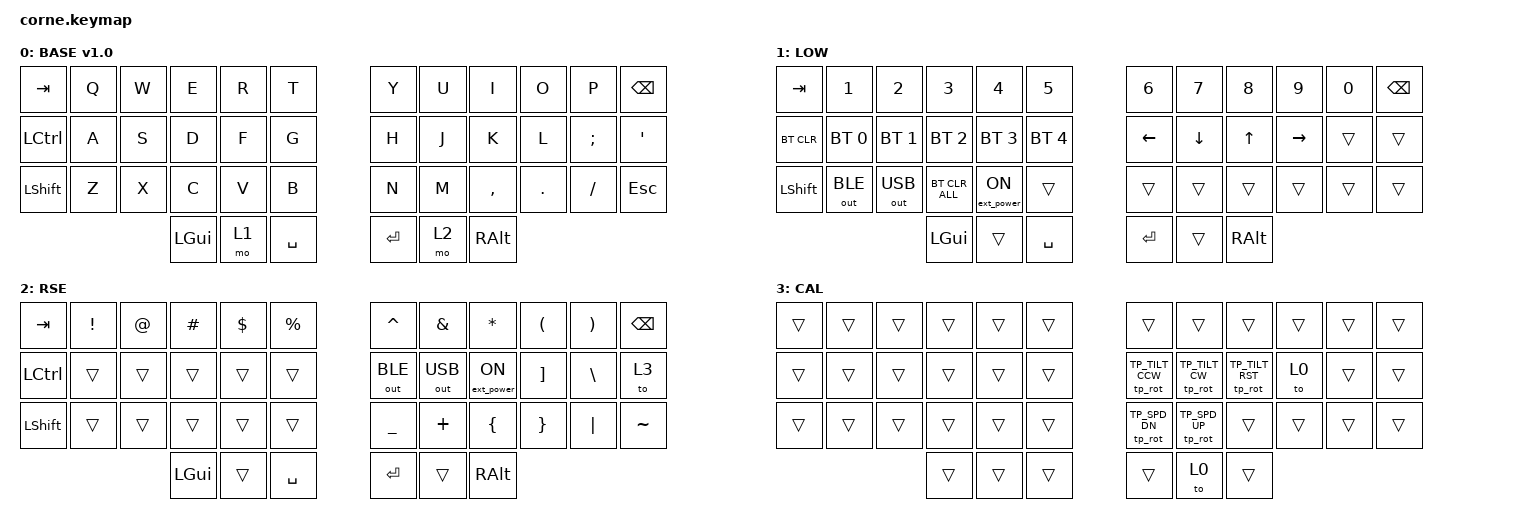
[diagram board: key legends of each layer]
/*
 * Copyright (c) 2020 The ZMK Contributors
 *
 * SPDX-License-Identifier: MIT
 */

#include <behaviors.dtsi>
#include <dt-bindings/zmk/keys.h>
#include <dt-bindings/zmk/bt.h>
#include <dt-bindings/zmk/outputs.h>
#include <dt-bindings/zmk/ext_power.h>
#include <dt-bindings/zmk/trackpad_cal.h>
/ {
        combos {
                compatible = "zmk,combos";
                // Both layer keys (Lower + Raise thumbs) enter calibration.
                combo_cal {
                        timeout-ms = <200>;
                        key-positions = <37 40>;
                        bindings = <&to 3>;
                };
        };

        keymap {
                compatible = "zmk,keymap";

                default_layer {
                        display-name = "BASE v1.0";
// -----------------------------------------------------------------------------------------
// |  TAB |  Q  |  W  |  E  |  R  |  T  |   |  Y  |  U   |  I  |  O  |  P  | BSPC |
// | CTRL |  A  |  S  |  D  |  F  |  G  |   |  H  |  J   |  K  |  L  |  ;  |  '   |
// | SHFT |  Z  |  X  |  C  |  V  |  B  |   |  N  |  M   |  ,  |  .  |  /  | ESC  |
//                    | GUI | LWR | SPC |   | ENT | RSE  | ALT |
                        bindings = <
   &kp TAB   &kp Q &kp W &kp E &kp R &kp T   &kp Y &kp U  &kp I     &kp O   &kp P    &kp BSPC
   &kp LCTRL &kp A &kp S &kp D &kp F &kp G   &kp H &kp J  &kp K     &kp L   &kp SEMI &kp SQT
   &kp LSHFT &kp Z &kp X &kp C &kp V &kp B   &kp N &kp M  &kp COMMA &kp DOT &kp FSLH &kp ESC
                  &kp LGUI &mo 1 &kp SPACE   &kp RET &mo 2 &kp RALT
                        >;
                };
                lower_layer {
                        display-name = "LOW";
// -----------------------------------------------------------------------------------------
// |  TAB |  1  |  2  |  3  |  4  |  5  |   |  6  |  7  |  8  |  9  |  0  | BSPC |
// | BTCLR| BT1 | BT2 | BT3 | BT4 | BT5 |   | LFT | DWN |  UP | RGT |     |      |
// | SHFT | BLE | USB |CLALL| EPON|     |   |     |     |     |     |     |      |
//                    | GUI |     | SPC |   | ENT |     | ALT |
                        bindings = <
   &kp TAB    &kp N1       &kp N2       &kp N3       &kp N4       &kp N5         &kp N6   &kp N7   &kp N8 &kp N9    &kp N0 &kp BSPC
   &bt BT_CLR &bt BT_SEL 0 &bt BT_SEL 1 &bt BT_SEL 2 &bt BT_SEL 3 &bt BT_SEL 4   &kp LEFT &kp DOWN &kp UP &kp RIGHT &trans &trans
   &kp LSHFT  &out OUT_BLE &out OUT_USB &bt BT_CLR_ALL &ext_power EP_ON &trans    &trans   &trans   &trans &trans    &trans &trans
                                    &kp LGUI     &trans       &kp SPACE      &kp RET  &trans   &kp RALT
                        >;
                };

                raise_layer {
                        display-name = "RSE";
// -----------------------------------------------------------------------------------------
// |  TAB |  !  |  @  |  #  |  $  |  %  |   |  ^  |  &  |  *  |  (  |  )  | BSPC |
// | CTRL |     |     |     |     |     |   | BLE | USB | EPON|  ]  |  \  | CAL  |
// | SHFT |     |     |     |     |     |   |  _  |  +  |  {  |  }  | "|" |  ~   |
//                    | GUI |     | SPC |   | ENT |     | ALT |
                        bindings = <
   &kp  TAB  &kp EXCL &kp AT &kp HASH &kp DLLR &kp PRCNT   &kp CARET &kp AMPS  &kp ASTRK &kp LPAR &kp RPAR &kp BSPC
   &kp LCTRL &trans   &trans &trans   &trans   &trans      &out OUT_BLE &out OUT_USB &ext_power EP_ON &kp RBKT &kp BSLH &to 3
   &kp LSHFT &trans   &trans &trans   &trans   &trans      &kp UNDER &kp PLUS  &kp LBRC  &kp RBRC &kp PIPE &kp TILDE
                             &kp LGUI &trans   &kp SPACE   &kp RET   &trans    &kp RALT
                        >;
                };

                cal_layer {
                        display-name = "CAL";
// Enter: Lower+Raise together, or Raise + '.
// Right home: H/J tilt, N/M speed, K reset, L exit
                        bindings = <
   &trans &trans &trans &trans &trans &trans   &trans &trans &trans &trans &trans &trans
   &trans &trans &trans &trans &trans &trans   &tp_rot TP_TILT_CCW &tp_rot TP_TILT_CW &tp_rot TP_TILT_RST &to 0 &trans &trans
   &trans &trans &trans &trans &trans &trans   &tp_rot TP_SPD_DN &tp_rot TP_SPD_UP &trans &trans &trans &trans
                  &trans &trans &trans   &trans &to 0 &trans
                        >;
                };
        };
};

